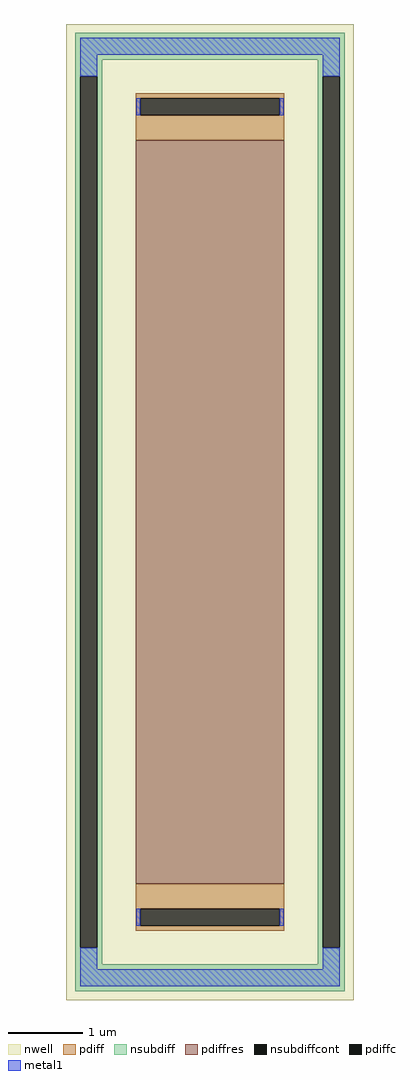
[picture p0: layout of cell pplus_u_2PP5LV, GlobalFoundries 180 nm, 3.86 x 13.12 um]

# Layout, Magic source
magic
tech gf180mcuD
magscale 1 10
<< nwell >>
rect -386 -1312 386 1312
<< pdiff >>
rect -200 1113 200 1126
rect -200 1067 -187 1113
rect 187 1067 200 1113
rect -200 1000 200 1067
rect -200 -1067 200 -1000
rect -200 -1113 -187 -1067
rect 187 -1113 200 -1067
rect -200 -1126 200 -1113
<< pdiffc >>
rect -187 1067 187 1113
rect -187 -1113 187 -1067
<< nsubdiff >>
rect -362 1216 362 1288
rect -362 1172 -290 1216
rect -362 -1172 -349 1172
rect -303 -1172 -290 1172
rect 290 1172 362 1216
rect -362 -1216 -290 -1172
rect 290 -1172 303 1172
rect 349 -1172 362 1172
rect 290 -1216 362 -1172
rect -362 -1288 362 -1216
<< nsubdiffcont >>
rect -349 -1172 -303 1172
rect 303 -1172 349 1172
<< pdiffres >>
rect -200 -1000 200 1000
<< metal1 >>
rect -349 1229 349 1275
rect -349 1172 -303 1229
rect 303 1172 349 1229
rect -198 1067 -187 1113
rect 187 1067 198 1113
rect -198 -1113 -187 -1067
rect 187 -1113 198 -1067
rect -349 -1229 -303 -1172
rect 303 -1229 349 -1172
rect -349 -1275 349 -1229
<< properties >>
string FIXED_BBOX -326 -1252 326 1252
string gencell pplus_u
string library gf180mcu
string parameters w 2.0 l 10.0 m 1 nx 1 wmin 1.00 lmin 1.00 class resistor rho 128 val 646.464 dummy 0 dw 0.02 term 0.0 sterm 0.0 caplen 0.60 snake 0 glc 1 grc 1 gtc 0 gbc 0 roverlap 0 endcov 100 full_metal 1
<< end >>
